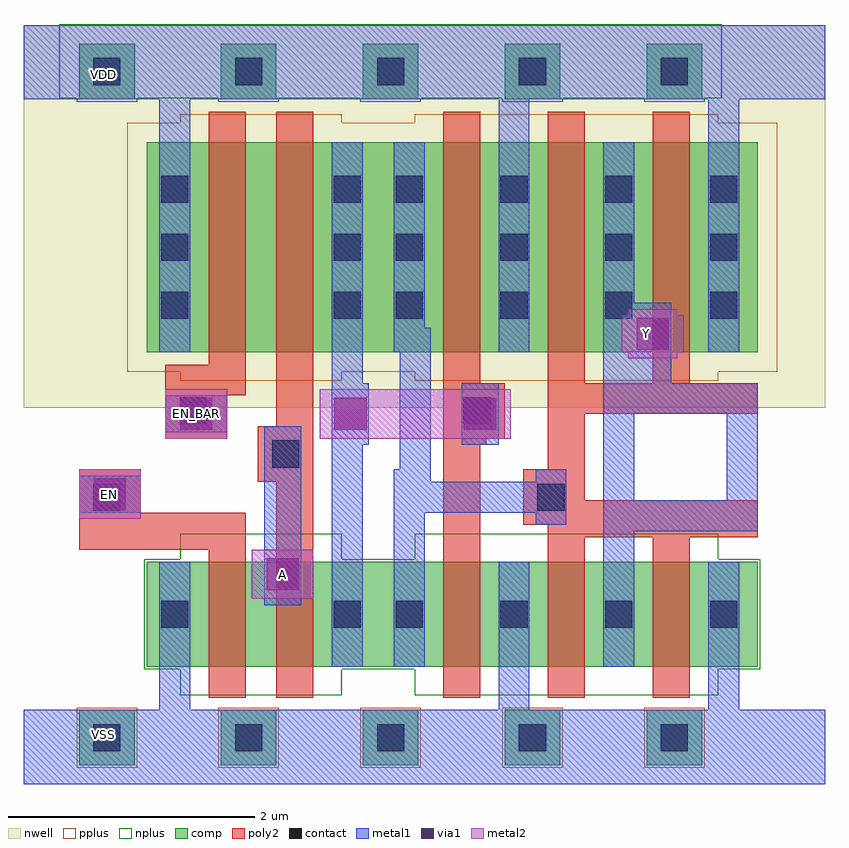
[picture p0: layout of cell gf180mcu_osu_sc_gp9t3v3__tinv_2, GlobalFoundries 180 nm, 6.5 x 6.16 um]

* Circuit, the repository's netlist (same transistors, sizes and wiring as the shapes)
* Copyright 2022 Google LLC
*
* Licensed under the Apache License, Version 2.0 (the "License");
* you may not use this file except in compliance with the License.
* You may obtain a copy of the License at
*
*      http://www.apache.org/licenses/LICENSE-2.0
*
* Unless required by applicable law or agreed to in writing, software
* distributed under the License is distributed on an "AS IS" BASIS,
* WITHOUT WARRANTIES OR CONDITIONS OF ANY KIND, either express or implied.
* See the License for the specific language governing permissions and
* limitations under the License.

.option scale=0.05u

.subckt gf180mcu_osu_sc_gp9t3v3__tinv_2 A Y EN EN_BAR
X0 VDD a_n19_19 Y VDD pmos_3p3 w=34 l=6
X1 VDD a_n19_19 a_n19_19 VDD pmos_3p3 w=34 l=6
X2 a_n19_19 A a_n30_19 VSS nmos_3p3 w=17 l=6
X3 a_n19_19 A a_n30_70 VDD pmos_3p3 w=34 l=6
X4 a_n30_19 EN VSS VSS nmos_3p3 w=17 l=6
X5 Y a_n19_19 VSS VSS nmos_3p3 w=17 l=6
X6 a_n30_70 EN_BAR VDD VDD pmos_3p3 w=34 l=6
X7 Y a_n19_19 VDD VDD pmos_3p3 w=34 l=6
X8 VSS a_n19_19 Y VSS nmos_3p3 w=17 l=6
X9 VSS a_n19_19 a_n19_19 VSS nmos_3p3 w=17 l=6
.ends

** hspice subcircuit dictionary

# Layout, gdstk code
import gdstk
lib = gdstk.Library(unit=1e-6, precision=1e-09)
def R(c, l, rs):  # rectangles x0, y0, x1, y1
    for r in rs: c.add(gdstk.rectangle(r[:2], r[2:], *l))
def A(c, l, x, y, w, h, nx, ny, dx, dy):  # array of equal rectangles
    R(c, l, [(x+i*dx, y+j*dy, x+i*dx+w, y+j*dy+h) for i in range(nx) for j in range(ny)])
nwell = (21, 0)
comp = (22, 0)
poly2 = (30, 0)
pplus = (31, 0)
nplus = (32, 0)
contact = (33, 0)
metal1 = (34, 0)
via1 = (35, 0)
metal2 = (36, 0)

gf180mcu_osu_sc_gp9t3v3_ = lib.new_cell('gf180mcu_osu_sc_gp9t3v3__tinv_2')
R(gf180mcu_osu_sc_gp9t3v3_, nwell, [(-3.3,3.05,3.2,6.15)])
A(gf180mcu_osu_sc_gp9t3v3_, comp, -2.85, 0.15, 0.45, 0.45, 5, 2, 1.15, 5.4)
R(gf180mcu_osu_sc_gp9t3v3_, comp, [(-2.3,0.95,2.65,1.8), (-2.3,3.5,2.65,5.2)])
A(gf180mcu_osu_sc_gp9t3v3_, poly2, 0.1, 3.25, 0.3, 2.2, 3, 1, 0.85, 0)
R(gf180mcu_osu_sc_gp9t3v3_, poly2, [(-1.8,0.7,-1.5,1.9), (-1.25,0.7,-0.95,2.45), (0.1,0.7,0.4,2.75), (0.95,0.7,1.25,2), (1.8,0.7,2.1,2), (-2.85,1.9,-1.5,2.2), (0.95,2,2.65,2.1), (0.75,2.1,2.65,2.3), (-2.85,2.2,-2.35,2.55), (0.75,2.3,1.25,2.55), (-1.4,2.45,-0.95,2.9), (0.95,2.55,1.25,3), (0.1,2.75,0.45,2.8), (-2.15,2.8,-1.65,3.15), (0.1,2.8,0.6,3.25), (-1.25,2.9,-0.95,5.45), (0.95,3,2.65,3.25), (-2.15,3.15,-1.5,3.4), (-1.8,3.4,-1.5,5.45)])
A(gf180mcu_osu_sc_gp9t3v3_, pplus, -2.87, 0.13, 0.49, 0.49, 5, 1, 1.15, 0)
R(gf180mcu_osu_sc_gp9t3v3_, pplus, [(-2.03,3.27,-0.72,3.34), (-0.13,3.27,2.33,3.34), (-2.46,3.34,2.81,5.36), (-2.03,5.36,-0.72,5.43), (-0.13,5.36,2.33,5.43)])
A(gf180mcu_osu_sc_gp9t3v3_, nplus, -2.87, 5.53, 0.49, 0.03, 5, 1, 1.15, 0)
R(gf180mcu_osu_sc_gp9t3v3_, nplus, [(-2.03,0.72,-0.72,0.93), (-0.13,0.72,2.33,0.93), (-2.32,0.93,2.67,1.82), (-2.03,1.82,-0.72,2.03), (-0.13,1.82,2.33,2.03), (-3.01,5.56,2.36,6.16)])
A(gf180mcu_osu_sc_gp9t3v3_, contact, -2.735, 0.265, 0.22, 0.22, 5, 2, 1.15, 5.4)
A(gf180mcu_osu_sc_gp9t3v3_, contact, -0.285, 1.265, 0.22, 0.22, 4, 2, 0.85, 2.505)
A(gf180mcu_osu_sc_gp9t3v3_, contact, -2.185, 3.77, 0.22, 0.22, 1, 3, 0, 0.47)
A(gf180mcu_osu_sc_gp9t3v3_, contact, -0.785, 3.77, 0.22, 0.22, 1, 3, 0, 0.47)
A(gf180mcu_osu_sc_gp9t3v3_, contact, -0.285, 4.24, 0.22, 0.22, 4, 2, 0.85, 0.47)
R(gf180mcu_osu_sc_gp9t3v3_, contact, [(-2.185,1.265,-1.965,1.485), (-0.785,1.265,-0.565,1.485), (-2.735,2.215,-2.515,2.435), (0.865,2.215,1.085,2.435), (-1.285,2.565,-1.065,2.785), (-2.035,2.915,-1.815,3.135), (0.265,2.915,0.485,3.135)])
R(gf180mcu_osu_sc_gp9t3v3_, metal1, [(-3.3,0,3.2,0.6), (-2.2,0.6,-1.95,1.8), (0.55,0.6,0.8,1.8), (2.25,0.6,2.5,1.8), (-0.8,0.95,-0.55,2.75), (-0.3,0.95,-0.05,2.2), (1.4,0.95,1.65,2.05), (-1.35,1.45,-1.05,2.9), (1.4,2.05,2.65,2.3), (0.85,2.1,1.1,2.2), (-2.85,2.2,-2.35,2.5), (-0.3,2.2,1.1,2.45), (1.4,2.3,1.65,3), (2.4,2.3,2.65,3), (-0.3,2.45,0,2.55), (0.85,2.45,1.1,2.55), (-0.25,2.55,0,3.5), (-0.8,2.75,-0.5,3.25), (0.25,2.75,0.55,3.25), (-2.15,2.85,-1.65,3.15), (1.4,3,2.65,3.25), (-0.8,3.25,-0.55,5.2), (1.4,3.25,1.95,3.9), (-2.2,3.5,-1.95,5.55), (-0.3,3.5,0,3.7), (0.55,3.5,0.8,5.55), (2.25,3.5,2.5,5.55), (-0.3,3.7,-0.05,5.2), (1.4,3.9,1.65,5.2), (-3.3,5.55,3.2,6.15)])
R(gf180mcu_osu_sc_gp9t3v3_, via1, [(-1.33,1.57,-1.07,1.83), (-2.73,2.22,-2.47,2.48), (-2.03,2.87,-1.77,3.13), (-0.78,2.87,-0.52,3.13), (0.27,2.87,0.53,3.13), (1.67,3.52,1.93,3.78)])
R(gf180mcu_osu_sc_gp9t3v3_, metal2, [(-1.45,1.5,-0.95,1.9), (-2.85,2.15,-2.35,2.55), (-2.15,2.8,-1.65,3.2), (-0.9,2.8,0.65,3.2), (1.6,3.45,2,3.5), (1.55,3.5,2.05,3.8), (1.6,3.8,2,3.85)])
gf180mcu_osu_sc_gp9t3v3_.add(gdstk.Label('VDD', (-2.65,5.75), layer=34, texttype=0))
gf180mcu_osu_sc_gp9t3v3_.add(gdstk.Label('VSS', (-2.65,0.4), layer=34, texttype=0))
gf180mcu_osu_sc_gp9t3v3_.add(gdstk.Label('A', (-1.2,1.7), layer=36, texttype=10))
gf180mcu_osu_sc_gp9t3v3_.add(gdstk.Label('Y', (1.75,3.65), layer=36, texttype=10))
gf180mcu_osu_sc_gp9t3v3_.add(gdstk.Label('EN', (-2.6,2.35), layer=36, texttype=10))
gf180mcu_osu_sc_gp9t3v3_.add(gdstk.Label('EN_BAR', (-1.9,3), layer=36, texttype=10))

lib.write_gds('gf180mcu_osu_sc_gp9t3v3__tinv_2.gds')
